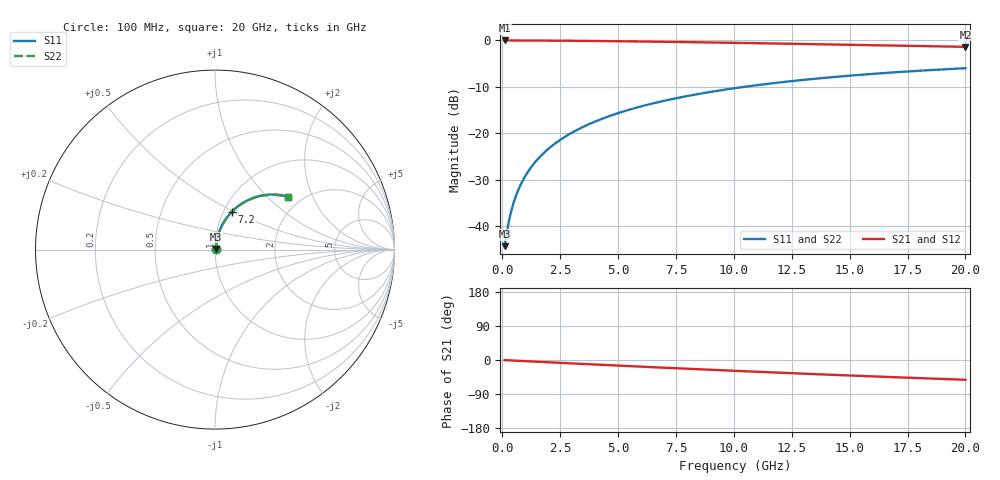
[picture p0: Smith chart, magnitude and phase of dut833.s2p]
! Touchstone file exported from HFSS 2026.1.0
!  File:  C:/ffzhzh/LocalFiles/Ansys_Project_Files/temp_train_TMRDL_833_1783156662_22436.aedt
!  Generated:  05:18:59 PM Jul  4, 2026
!  Design:  TMRDL
!  Project:  temp_train_TMRDL_833_1783156662_22436
! Variables:
!  h_bsmrdl = 2um
!  h_ox = 20um
!  h_rdl = 5um
!  h_sub = 80um
!  h_tmrdl = 5.06um
!  h_tsv = 80um
!  h_via = 3um
!  l_bsmrdl = 300um
!  l_sub = 1188.36um
!  l_tmrdl = 788.36um
!  m_sub = 200um
!  pitch = 37.65um
!  r_tsv = 6um
!  s_tmrdl = 10um
!  w_bsmrdl = 18um
!  w_sub = 500um
!  w_tmrdl = 11.14um
!  x_tsv_center1 = 793.93um
!  x_tsv_center2 = 1111.93um
!  x_tsv_center3 = 1911.43um
!  x_tsv_center4 = 2229.43um
!  x_tsv_center5 = 3028.93um
!  x_tsv_center6 = 3346.93um
# GHz S MA R 50.000000
! Terminal data exported
! Port[1] = TM_RDL1_1_T1
! Port[2] = TM_RDL1_1_T2
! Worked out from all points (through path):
!   200 points, 100 MHz to 20 GHz, reference 50 ohm
!   highest |S21| = -0.04 dB at 100 MHz (marker M1); lowest = -1.4 dB at 20 GHz (marker M2)
!   group delay of S21, straight-line fit = 7.25 ps
!   lowest |S11| = -44.3 dB at 100 MHz (marker M3), VSWR 1.01, Z = 50.5 + j0.359 ohm
!   |S11| at or under -10 dB: start of sweep to 10.48 GHz
!   |S22| runs from -44.3 to -6.0 dB; largest |S21 - S12| = 8.3e-15
!   S11 on the Smith chart (normalised r, x): 100 MHz: 1.01, +0.01; 7.2 GHz: 1.09, +0.48; 20 GHz: 1.69, +1.33
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0.1  0.006106 35.6  0.995 -0.3  0.995 -0.3  0.006106 35.6
! Gamma 0 0 0 0
! Port Impedance 50 0 50 0
0.2  0.008722 54.1  0.9949 -0.6  0.9949 -0.6  0.008722 54.1
0.3  0.01179 63.1  0.9948 -0.9  0.9948 -0.9  0.01179 63.1
0.4  0.015 68.2  0.9946 -1.2  0.9946 -1.2  0.015 68.2
0.5  0.01826 71.3  0.9945 -1.5  0.9945 -1.5  0.01826 71.3
0.6  0.02156 73.5  0.9943 -1.8  0.9943 -1.8  0.02156 73.5
0.8  0.02819 76.1  0.994 -2.4  0.994 -2.4  0.02819 76.1
1.1  0.03821 77.9  0.9935 -3.3  0.9935 -3.3  0.03822 77.9
1.5  0.05161 78.7  0.9926 -4.5  0.9926 -4.5  0.05161 78.7
1.8  0.06164 78.7  0.9918 -5.4  0.9918 -5.4  0.06165 78.7
2.1  0.07164 78.4  0.9909 -6.3  0.9909 -6.3  0.07164 78.4
2.7  0.09146 77.4  0.9887 -8.1  0.9887 -8.1  0.09146 77.4
3.5  0.1174 75.7  0.9851 -10.5  0.9851 -10.5  0.1174 75.6
4.2  0.1397 74.0  0.9815 -12.5  0.9815 -12.5  0.1397 73.9
5  0.1645 71.9  0.9768 -14.8  0.9768 -14.8  0.1645 71.8
6.8  0.218 67.2  0.9645 -19.8  0.9645 -19.8  0.218 67.1
7.2  0.2294 66.2  0.9615 -20.9  0.9615 -20.9  0.2294 66.0
8.6  0.2679 62.6  0.9505 -24.7  0.9505 -24.7  0.268 62.4
10.1  0.3069 58.8  0.9379 -28.7  0.9379 -28.7  0.3069 58.6
13.4  0.3835 50.8  0.9083 -37.1  0.9083 -37.1  0.3835 50.6
16.7  0.4478 43.2  0.8782 -44.9  0.8782 -44.9  0.4479 43.0
20  0.5004 36.2  0.8496 -52.2  0.8496 -52.2  0.5004 35.8
